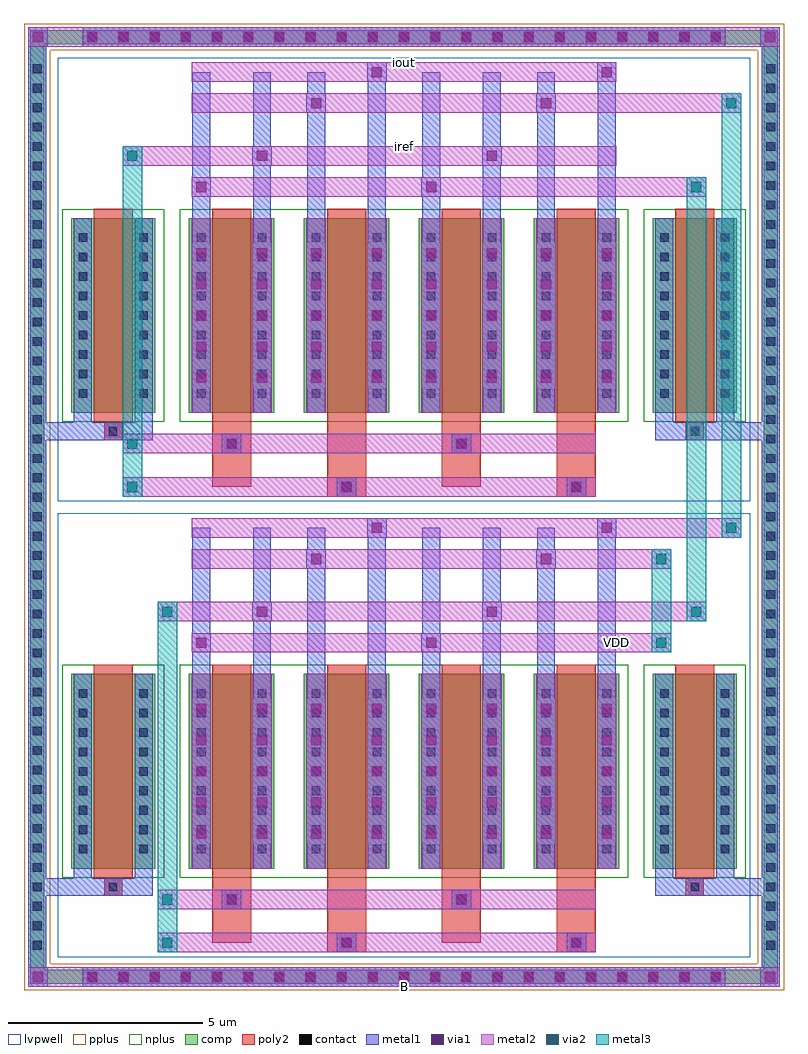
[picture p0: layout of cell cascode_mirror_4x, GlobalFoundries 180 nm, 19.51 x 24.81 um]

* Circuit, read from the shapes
.subckt cascode_mirror_4x B VDD iout iref
XM1 B B B B nfet_03v3 w=5u l=1u m=4
XM2 n1 n1 VDD B nfet_03v3 w=5u l=1u m=2
XM3 iref iref n1 B nfet_03v3 w=5u l=1u m=2
XM4 n2 n1 VDD B nfet_03v3 w=5u l=1u m=2
XM5 iout iref n2 B nfet_03v3 w=5u l=1u m=2
.ends

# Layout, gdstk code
import gdstk
lib = gdstk.Library(unit=1e-6, precision=5e-09)
def R(c, l, rs):  # rectangles x0, y0, x1, y1
    for r in rs: c.add(gdstk.rectangle(r[:2], r[2:], *l))
def A(c, l, x, y, w, h, nx, ny, dx, dy):  # array of equal rectangles
    R(c, l, [(x+i*dx, y+j*dy, x+i*dx+w, y+j*dy+h) for i in range(nx) for j in range(ny)])
def P(c, l, *ps):  # polygons
    for p in ps: c.add(gdstk.Polygon(p, *l))
comp = (22, 0)
poly2 = (30, 0)
pplus = (31, 0)
nplus = (32, 0)
contact = (33, 0)
metal1 = (34, 0)
via1 = (35, 0)
metal2 = (36, 0)
via2 = (38, 0)
metal3 = (42, 0)
lvpwell = (204, 0)

transformed_e3b7c027 = lib.new_cell('transformed_e3b7c027')
A(transformed_e3b7c027, comp, -5.525, -3.425, 2.2, 5, 4, 1, 2.95, 0)
R(transformed_e3b7c027, comp, [(-8.545,-3.425,-6.385,1.575), (6.385,-3.425,8.545,1.575)])
A(transformed_e3b7c027, poly2, -4.925, -3.665, 1, 5.48, 4, 1, 2.95, 0)
R(transformed_e3b7c027, poly2, [(-1.975,-5.575,-0.975,-5.075), (3.925,-5.575,4.925,-5.075), (-1.655,-5.505,-1.295,-5.145), (4.245,-5.505,4.605,-5.145), (-4.925,-5.325,-3.925,-3.665), (0.975,-5.325,1.975,-3.665), (-1.975,-5.075,-0.975,-3.665), (3.925,-5.075,4.925,-3.665), (-4.925,-4.465,-3.925,-3.965), (0.975,-4.465,1.975,-3.965), (-4.605,-4.395,-4.245,-4.035), (1.295,-4.395,1.655,-4.035), (-7.695,-4.125,-7.235,-3.665), (7.235,-4.125,7.695,-3.665), (-7.645,-4.075,-7.285,-3.715), (7.285,-4.075,7.645,-3.715), (-4.925,-3.965,-3.925,-3.665), (0.975,-3.965,1.975,-3.665), (-7.965,-3.665,-6.965,1.815), (6.965,-3.665,7.965,1.815)])
A(transformed_e3b7c027, nplus, -5.755, -3.655, 2.66, 5.46, 4, 1, 2.95, 0)
R(transformed_e3b7c027, nplus, [(-8.775,-3.655,-6.155,1.805), (-5.755,-3.655,5.755,1.805), (6.155,-3.655,8.775,1.805)])
A(transformed_e3b7c027, contact, -8.355, -3.035, 0.22, 0.22, 1, 9, 0, 0.5)
A(transformed_e3b7c027, contact, -6.795, -3.035, 0.22, 0.22, 1, 9, 0, 0.5)
A(transformed_e3b7c027, contact, -5.315, -3.035, 0.22, 0.22, 1, 9, 0, 0.5)
A(transformed_e3b7c027, contact, -3.755, -3.035, 0.22, 0.22, 1, 9, 0, 0.5)
A(transformed_e3b7c027, contact, -2.365, -3.035, 0.22, 0.22, 1, 9, 0, 0.5)
A(transformed_e3b7c027, contact, -0.805, -3.035, 0.22, 0.22, 1, 9, 0, 0.5)
A(transformed_e3b7c027, contact, 0.585, -3.035, 0.22, 0.22, 1, 9, 0, 0.5)
A(transformed_e3b7c027, contact, 2.145, -3.035, 0.22, 0.22, 1, 9, 0, 0.5)
A(transformed_e3b7c027, contact, 3.535, -3.035, 0.22, 0.22, 1, 9, 0, 0.5)
A(transformed_e3b7c027, contact, 5.095, -3.035, 0.22, 0.22, 1, 9, 0, 0.5)
A(transformed_e3b7c027, contact, 6.575, -3.035, 0.22, 0.22, 1, 9, 0, 0.5)
A(transformed_e3b7c027, contact, 8.135, -3.035, 0.22, 0.22, 1, 9, 0, 0.5)
R(transformed_e3b7c027, contact, [(-1.585,-5.435,-1.365,-5.215), (4.315,-5.435,4.535,-5.215), (-4.535,-4.325,-4.315,-4.105), (1.365,-4.325,1.585,-4.105), (-7.575,-4.005,-7.355,-3.785), (7.355,-4.005,7.575,-3.785)])
A(transformed_e3b7c027, metal1, -8.475, -3.155, 0.46, 0.46, 1, 9, 0, 0.5)
A(transformed_e3b7c027, metal1, -6.915, -3.155, 0.46, 0.46, 1, 9, 0, 0.5)
A(transformed_e3b7c027, metal1, -5.435, -3.155, 0.46, 0.46, 1, 9, 0, 0.5)
A(transformed_e3b7c027, metal1, -3.875, -3.155, 0.46, 0.46, 1, 9, 0, 0.5)
A(transformed_e3b7c027, metal1, -2.485, -3.155, 0.46, 0.46, 1, 9, 0, 0.5)
A(transformed_e3b7c027, metal1, -0.925, -3.155, 0.46, 0.46, 1, 9, 0, 0.5)
A(transformed_e3b7c027, metal1, 0.465, -3.155, 0.46, 0.46, 1, 9, 0, 0.5)
A(transformed_e3b7c027, metal1, 2.025, -3.155, 0.46, 0.46, 1, 9, 0, 0.5)
A(transformed_e3b7c027, metal1, 3.415, -3.155, 0.46, 0.46, 1, 9, 0, 0.5)
A(transformed_e3b7c027, metal1, 4.975, -3.155, 0.46, 0.46, 1, 9, 0, 0.5)
A(transformed_e3b7c027, metal1, 6.455, -3.155, 0.46, 0.46, 1, 9, 0, 0.5)
A(transformed_e3b7c027, metal1, 8.015, -3.155, 0.46, 0.46, 1, 9, 0, 0.5)
A(transformed_e3b7c027, metal1, -5.455, -2.775, 0.5, 0.5, 1, 5, 0, 0.8)
A(transformed_e3b7c027, metal1, -3.895, -2.775, 0.5, 0.5, 1, 5, 0, 0.8)
A(transformed_e3b7c027, metal1, -2.505, -2.775, 0.5, 0.5, 1, 5, 0, 0.8)
A(transformed_e3b7c027, metal1, -0.945, -2.775, 0.5, 0.5, 1, 5, 0, 0.8)
A(transformed_e3b7c027, metal1, 0.445, -2.775, 0.5, 0.5, 1, 5, 0, 0.8)
A(transformed_e3b7c027, metal1, 2.005, -2.775, 0.5, 0.5, 1, 5, 0, 0.8)
A(transformed_e3b7c027, metal1, 3.395, -2.775, 0.5, 0.5, 1, 5, 0, 0.8)
A(transformed_e3b7c027, metal1, 4.955, -2.775, 0.5, 0.5, 1, 5, 0, 0.8)
R(transformed_e3b7c027, metal1, [(-1.725,-5.575,-1.225,-5.075), (4.175,-5.575,4.675,-5.075), (-4.675,-4.465,-4.175,-3.965), (1.225,-4.465,1.725,-3.965), (-8.475,-4.125,-7.695,-3.665), (-8.475,-4.125,-8.015,-3.425), (-7.695,-4.125,-7.235,-3.665), (-7.235,-4.125,-6.455,-3.665), (-6.915,-4.125,-6.455,-3.425), (6.455,-4.125,7.235,-3.665), (6.455,-4.125,6.915,-3.425), (7.235,-4.125,7.695,-3.665), (7.695,-4.125,8.475,-3.665), (8.015,-4.125,8.475,-3.425), (-8.475,-3.425,-8.015,1.575), (-6.915,-3.425,-6.455,1.575), (-5.435,-3.425,-4.975,1.575), (-3.875,-3.425,-3.415,1.575), (-2.485,-3.425,-2.025,1.575), (-0.925,-3.425,-0.465,1.575), (0.465,-3.425,0.925,1.575), (2.025,-3.425,2.485,1.575), (3.415,-3.425,3.875,1.575), (4.975,-3.425,5.435,1.575), (6.455,-3.425,6.915,1.575), (8.015,-3.425,8.475,1.575), (-5.455,-2.775,-4.955,0.925), (-3.895,-2.775,-3.395,0.925), (-2.505,-2.775,-2.005,0.925), (-0.945,-2.775,-0.445,0.925), (0.445,-2.775,0.945,0.925), (2.005,-2.775,2.505,0.925), (3.395,-2.775,3.895,0.925), (4.955,-2.775,5.455,0.925), (-5.435,1.575,-4.975,2.625), (-5.435,1.575,-4.975,5.325), (-3.875,1.575,-3.415,3.425), (-3.875,1.575,-3.415,5.325), (-2.485,1.575,-2.025,4.775), (-2.485,1.575,-2.025,5.325), (-0.925,1.575,-0.465,5.575), (-0.925,1.575,-0.465,5.325), (0.465,1.575,0.925,2.625), (0.465,1.575,0.925,5.325), (2.025,1.575,2.485,3.425), (2.025,1.575,2.485,5.325), (3.415,1.575,3.875,4.775), (3.415,1.575,3.875,5.325), (4.975,1.575,5.435,5.575), (4.975,1.575,5.435,5.325), (-5.455,2.125,-4.955,2.625), (0.445,2.125,0.945,2.625), (-3.895,2.925,-3.395,3.425), (2.005,2.925,2.505,3.425), (-2.505,4.275,-2.005,4.775), (3.395,4.275,3.895,4.775), (-0.945,5.075,-0.445,5.575), (4.955,5.075,5.455,5.575)])
A(transformed_e3b7c027, via1, -5.335, -2.655, 0.26, 0.26, 1, 5, 0, 0.8)
A(transformed_e3b7c027, via1, -3.775, -2.655, 0.26, 0.26, 1, 5, 0, 0.8)
A(transformed_e3b7c027, via1, -2.385, -2.655, 0.26, 0.26, 1, 5, 0, 0.8)
A(transformed_e3b7c027, via1, -0.825, -2.655, 0.26, 0.26, 1, 5, 0, 0.8)
A(transformed_e3b7c027, via1, 0.565, -2.655, 0.26, 0.26, 1, 5, 0, 0.8)
A(transformed_e3b7c027, via1, 2.125, -2.655, 0.26, 0.26, 1, 5, 0, 0.8)
A(transformed_e3b7c027, via1, 3.515, -2.655, 0.26, 0.26, 1, 5, 0, 0.8)
A(transformed_e3b7c027, via1, 5.075, -2.655, 0.26, 0.26, 1, 5, 0, 0.8)
R(transformed_e3b7c027, via1, [(-1.605,-5.455,-1.345,-5.195), (4.295,-5.455,4.555,-5.195), (-4.555,-4.345,-4.295,-4.085), (1.345,-4.345,1.605,-4.085), (-5.335,2.245,-5.075,2.505), (0.565,2.245,0.825,2.505), (-3.775,3.045,-3.515,3.305), (2.125,3.045,2.385,3.305), (-2.385,4.395,-2.125,4.655), (3.515,4.395,3.775,4.655), (-0.825,5.195,-0.565,5.455), (5.075,5.195,5.335,5.455)])
A(transformed_e3b7c027, metal2, -5.455, -2.775, 0.5, 0.5, 1, 5, 0, 0.8)
A(transformed_e3b7c027, metal2, -3.895, -2.775, 0.5, 0.5, 1, 5, 0, 0.8)
A(transformed_e3b7c027, metal2, -2.505, -2.775, 0.5, 0.5, 1, 5, 0, 0.8)
A(transformed_e3b7c027, metal2, -0.945, -2.775, 0.5, 0.5, 1, 5, 0, 0.8)
A(transformed_e3b7c027, metal2, 0.445, -2.775, 0.5, 0.5, 1, 5, 0, 0.8)
A(transformed_e3b7c027, metal2, 2.005, -2.775, 0.5, 0.5, 1, 5, 0, 0.8)
A(transformed_e3b7c027, metal2, 3.395, -2.775, 0.5, 0.5, 1, 5, 0, 0.8)
A(transformed_e3b7c027, metal2, 4.955, -2.775, 0.5, 0.5, 1, 5, 0, 0.8)
R(transformed_e3b7c027, metal2, [(-4.925,-5.575,4.925,-5.075), (-1.975,-5.575,-0.975,-5.075), (-1.725,-5.575,-1.225,-5.075), (3.925,-5.575,4.925,-5.075), (4.175,-5.575,4.675,-5.075), (-4.925,-4.465,-3.925,-3.965), (-4.925,-4.465,4.925,-3.965), (-4.675,-4.465,-4.175,-3.965), (0.975,-4.465,1.975,-3.965), (1.225,-4.465,1.725,-3.965), (-5.455,-3.425,-4.955,1.575), (-3.895,-3.425,-3.395,1.575), (-2.505,-3.425,-2.005,1.575), (-0.945,-3.425,-0.445,1.575), (0.445,-3.425,0.945,1.575), (2.005,-3.425,2.505,1.575), (3.395,-3.425,3.895,1.575), (4.955,-3.425,5.455,1.575), (-5.455,2.125,-4.955,2.625), (-5.455,2.125,-3.395,2.625), (-5.455,2.125,5.455,2.625), (0.445,2.125,0.945,2.625), (0.445,2.125,2.505,2.625), (-5.455,2.925,-3.395,3.425), (-5.455,2.925,5.455,3.425), (-3.895,2.925,-3.395,3.425), (0.445,2.925,2.505,3.425), (2.005,2.925,2.505,3.425), (-5.455,4.275,5.455,4.775), (-2.505,4.275,-2.005,4.775), (-2.505,4.275,-0.445,4.775), (3.395,4.275,3.895,4.775), (3.395,4.275,5.455,4.775), (-5.455,5.075,5.455,5.575), (-2.505,5.075,-0.445,5.575), (-0.945,5.075,-0.445,5.575), (3.395,5.075,5.455,5.575), (4.955,5.075,5.455,5.575)])
R(transformed_e3b7c027, lvpwell, [(-8.895,-5.695,8.895,5.695)])

transformed_60a3c7ee = lib.new_cell('transformed_60a3c7ee')
A(transformed_60a3c7ee, comp, -5.525, -3.425, 2.2, 5, 4, 1, 2.95, 0)
R(transformed_60a3c7ee, comp, [(-8.545,-3.425,-6.385,1.575), (6.385,-3.425,8.545,1.575)])
A(transformed_60a3c7ee, poly2, -4.925, -3.665, 1, 5.48, 4, 1, 2.95, 0)
R(transformed_60a3c7ee, poly2, [(-1.975,-5.575,-0.975,-5.075), (3.925,-5.575,4.925,-5.075), (-1.655,-5.505,-1.295,-5.145), (4.245,-5.505,4.605,-5.145), (-4.925,-5.325,-3.925,-3.665), (0.975,-5.325,1.975,-3.665), (-1.975,-5.075,-0.975,-3.665), (3.925,-5.075,4.925,-3.665), (-4.925,-4.465,-3.925,-3.965), (0.975,-4.465,1.975,-3.965), (-4.605,-4.395,-4.245,-4.035), (1.295,-4.395,1.655,-4.035), (-7.695,-4.125,-7.235,-3.665), (7.235,-4.125,7.695,-3.665), (-7.645,-4.075,-7.285,-3.715), (7.285,-4.075,7.645,-3.715), (-4.925,-3.965,-3.925,-3.665), (0.975,-3.965,1.975,-3.665), (-7.965,-3.665,-6.965,1.815), (6.965,-3.665,7.965,1.815)])
A(transformed_60a3c7ee, nplus, -5.755, -3.655, 2.66, 5.46, 4, 1, 2.95, 0)
R(transformed_60a3c7ee, nplus, [(-8.775,-3.655,-6.155,1.805), (-5.755,-3.655,5.755,1.805), (6.155,-3.655,8.775,1.805)])
A(transformed_60a3c7ee, contact, -8.355, -3.035, 0.22, 0.22, 1, 9, 0, 0.5)
A(transformed_60a3c7ee, contact, -6.795, -3.035, 0.22, 0.22, 1, 9, 0, 0.5)
A(transformed_60a3c7ee, contact, -5.315, -3.035, 0.22, 0.22, 1, 9, 0, 0.5)
A(transformed_60a3c7ee, contact, -3.755, -3.035, 0.22, 0.22, 1, 9, 0, 0.5)
A(transformed_60a3c7ee, contact, -2.365, -3.035, 0.22, 0.22, 1, 9, 0, 0.5)
A(transformed_60a3c7ee, contact, -0.805, -3.035, 0.22, 0.22, 1, 9, 0, 0.5)
A(transformed_60a3c7ee, contact, 0.585, -3.035, 0.22, 0.22, 1, 9, 0, 0.5)
A(transformed_60a3c7ee, contact, 2.145, -3.035, 0.22, 0.22, 1, 9, 0, 0.5)
A(transformed_60a3c7ee, contact, 3.535, -3.035, 0.22, 0.22, 1, 9, 0, 0.5)
A(transformed_60a3c7ee, contact, 5.095, -3.035, 0.22, 0.22, 1, 9, 0, 0.5)
A(transformed_60a3c7ee, contact, 6.575, -3.035, 0.22, 0.22, 1, 9, 0, 0.5)
A(transformed_60a3c7ee, contact, 8.135, -3.035, 0.22, 0.22, 1, 9, 0, 0.5)
R(transformed_60a3c7ee, contact, [(-1.585,-5.435,-1.365,-5.215), (4.315,-5.435,4.535,-5.215), (-4.535,-4.325,-4.315,-4.105), (1.365,-4.325,1.585,-4.105), (-7.575,-4.005,-7.355,-3.785), (7.355,-4.005,7.575,-3.785)])
A(transformed_60a3c7ee, metal1, -8.475, -3.155, 0.46, 0.46, 1, 9, 0, 0.5)
A(transformed_60a3c7ee, metal1, -6.915, -3.155, 0.46, 0.46, 1, 9, 0, 0.5)
A(transformed_60a3c7ee, metal1, -5.435, -3.155, 0.46, 0.46, 1, 9, 0, 0.5)
A(transformed_60a3c7ee, metal1, -3.875, -3.155, 0.46, 0.46, 1, 9, 0, 0.5)
A(transformed_60a3c7ee, metal1, -2.485, -3.155, 0.46, 0.46, 1, 9, 0, 0.5)
A(transformed_60a3c7ee, metal1, -0.925, -3.155, 0.46, 0.46, 1, 9, 0, 0.5)
A(transformed_60a3c7ee, metal1, 0.465, -3.155, 0.46, 0.46, 1, 9, 0, 0.5)
A(transformed_60a3c7ee, metal1, 2.025, -3.155, 0.46, 0.46, 1, 9, 0, 0.5)
A(transformed_60a3c7ee, metal1, 3.415, -3.155, 0.46, 0.46, 1, 9, 0, 0.5)
A(transformed_60a3c7ee, metal1, 4.975, -3.155, 0.46, 0.46, 1, 9, 0, 0.5)
A(transformed_60a3c7ee, metal1, 6.455, -3.155, 0.46, 0.46, 1, 9, 0, 0.5)
A(transformed_60a3c7ee, metal1, 8.015, -3.155, 0.46, 0.46, 1, 9, 0, 0.5)
A(transformed_60a3c7ee, metal1, -5.455, -2.775, 0.5, 0.5, 1, 5, 0, 0.8)
A(transformed_60a3c7ee, metal1, -3.895, -2.775, 0.5, 0.5, 1, 5, 0, 0.8)
A(transformed_60a3c7ee, metal1, -2.505, -2.775, 0.5, 0.5, 1, 5, 0, 0.8)
A(transformed_60a3c7ee, metal1, -0.945, -2.775, 0.5, 0.5, 1, 5, 0, 0.8)
A(transformed_60a3c7ee, metal1, 0.445, -2.775, 0.5, 0.5, 1, 5, 0, 0.8)
A(transformed_60a3c7ee, metal1, 2.005, -2.775, 0.5, 0.5, 1, 5, 0, 0.8)
A(transformed_60a3c7ee, metal1, 3.395, -2.775, 0.5, 0.5, 1, 5, 0, 0.8)
A(transformed_60a3c7ee, metal1, 4.955, -2.775, 0.5, 0.5, 1, 5, 0, 0.8)
R(transformed_60a3c7ee, metal1, [(-1.725,-5.575,-1.225,-5.075), (4.175,-5.575,4.675,-5.075), (-4.675,-4.465,-4.175,-3.965), (1.225,-4.465,1.725,-3.965), (-8.475,-4.125,-7.695,-3.665), (-8.475,-4.125,-8.015,-3.425), (-7.695,-4.125,-7.235,-3.665), (-7.235,-4.125,-6.455,-3.665), (-6.915,-4.125,-6.455,-3.425), (6.455,-4.125,7.235,-3.665), (6.455,-4.125,6.915,-3.425), (7.235,-4.125,7.695,-3.665), (7.695,-4.125,8.475,-3.665), (8.015,-4.125,8.475,-3.425), (-8.475,-3.425,-8.015,1.575), (-6.915,-3.425,-6.455,1.575), (-5.435,-3.425,-4.975,1.575), (-3.875,-3.425,-3.415,1.575), (-2.485,-3.425,-2.025,1.575), (-0.925,-3.425,-0.465,1.575), (0.465,-3.425,0.925,1.575), (2.025,-3.425,2.485,1.575), (3.415,-3.425,3.875,1.575), (4.975,-3.425,5.435,1.575), (6.455,-3.425,6.915,1.575), (8.015,-3.425,8.475,1.575), (-5.455,-2.775,-4.955,0.925), (-3.895,-2.775,-3.395,0.925), (-2.505,-2.775,-2.005,0.925), (-0.945,-2.775,-0.445,0.925), (0.445,-2.775,0.945,0.925), (2.005,-2.775,2.505,0.925), (3.395,-2.775,3.895,0.925), (4.955,-2.775,5.455,0.925), (-5.435,1.575,-4.975,2.625), (-5.435,1.575,-4.975,5.325), (-3.875,1.575,-3.415,3.425), (-3.875,1.575,-3.415,5.325), (-2.485,1.575,-2.025,4.775), (-2.485,1.575,-2.025,5.325), (-0.925,1.575,-0.465,5.575), (-0.925,1.575,-0.465,5.325), (0.465,1.575,0.925,2.625), (0.465,1.575,0.925,5.325), (2.025,1.575,2.485,3.425), (2.025,1.575,2.485,5.325), (3.415,1.575,3.875,4.775), (3.415,1.575,3.875,5.325), (4.975,1.575,5.435,5.575), (4.975,1.575,5.435,5.325), (-5.455,2.125,-4.955,2.625), (0.445,2.125,0.945,2.625), (-3.895,2.925,-3.395,3.425), (2.005,2.925,2.505,3.425), (-2.505,4.275,-2.005,4.775), (3.395,4.275,3.895,4.775), (-0.945,5.075,-0.445,5.575), (4.955,5.075,5.455,5.575)])
A(transformed_60a3c7ee, via1, -5.335, -2.655, 0.26, 0.26, 1, 5, 0, 0.8)
A(transformed_60a3c7ee, via1, -3.775, -2.655, 0.26, 0.26, 1, 5, 0, 0.8)
A(transformed_60a3c7ee, via1, -2.385, -2.655, 0.26, 0.26, 1, 5, 0, 0.8)
A(transformed_60a3c7ee, via1, -0.825, -2.655, 0.26, 0.26, 1, 5, 0, 0.8)
A(transformed_60a3c7ee, via1, 0.565, -2.655, 0.26, 0.26, 1, 5, 0, 0.8)
A(transformed_60a3c7ee, via1, 2.125, -2.655, 0.26, 0.26, 1, 5, 0, 0.8)
A(transformed_60a3c7ee, via1, 3.515, -2.655, 0.26, 0.26, 1, 5, 0, 0.8)
A(transformed_60a3c7ee, via1, 5.075, -2.655, 0.26, 0.26, 1, 5, 0, 0.8)
R(transformed_60a3c7ee, via1, [(-1.605,-5.455,-1.345,-5.195), (4.295,-5.455,4.555,-5.195), (-4.555,-4.345,-4.295,-4.085), (1.345,-4.345,1.605,-4.085), (-5.335,2.245,-5.075,2.505), (0.565,2.245,0.825,2.505), (-3.775,3.045,-3.515,3.305), (2.125,3.045,2.385,3.305), (-2.385,4.395,-2.125,4.655), (3.515,4.395,3.775,4.655), (-0.825,5.195,-0.565,5.455), (5.075,5.195,5.335,5.455)])
A(transformed_60a3c7ee, metal2, -5.455, -2.775, 0.5, 0.5, 1, 5, 0, 0.8)
A(transformed_60a3c7ee, metal2, -3.895, -2.775, 0.5, 0.5, 1, 5, 0, 0.8)
A(transformed_60a3c7ee, metal2, -2.505, -2.775, 0.5, 0.5, 1, 5, 0, 0.8)
A(transformed_60a3c7ee, metal2, -0.945, -2.775, 0.5, 0.5, 1, 5, 0, 0.8)
A(transformed_60a3c7ee, metal2, 0.445, -2.775, 0.5, 0.5, 1, 5, 0, 0.8)
A(transformed_60a3c7ee, metal2, 2.005, -2.775, 0.5, 0.5, 1, 5, 0, 0.8)
A(transformed_60a3c7ee, metal2, 3.395, -2.775, 0.5, 0.5, 1, 5, 0, 0.8)
A(transformed_60a3c7ee, metal2, 4.955, -2.775, 0.5, 0.5, 1, 5, 0, 0.8)
R(transformed_60a3c7ee, metal2, [(-4.925,-5.575,4.925,-5.075), (-1.975,-5.575,-0.975,-5.075), (-1.725,-5.575,-1.225,-5.075), (3.925,-5.575,4.925,-5.075), (4.175,-5.575,4.675,-5.075), (-4.925,-4.465,-3.925,-3.965), (-4.925,-4.465,4.925,-3.965), (-4.675,-4.465,-4.175,-3.965), (0.975,-4.465,1.975,-3.965), (1.225,-4.465,1.725,-3.965), (-5.455,-3.425,-4.955,1.575), (-3.895,-3.425,-3.395,1.575), (-2.505,-3.425,-2.005,1.575), (-0.945,-3.425,-0.445,1.575), (0.445,-3.425,0.945,1.575), (2.005,-3.425,2.505,1.575), (3.395,-3.425,3.895,1.575), (4.955,-3.425,5.455,1.575), (-5.455,2.125,-4.955,2.625), (-5.455,2.125,-3.395,2.625), (-5.455,2.125,5.455,2.625), (0.445,2.125,0.945,2.625), (0.445,2.125,2.505,2.625), (-5.455,2.925,-3.395,3.425), (-5.455,2.925,5.455,3.425), (-3.895,2.925,-3.395,3.425), (0.445,2.925,2.505,3.425), (2.005,2.925,2.505,3.425), (-5.455,4.275,5.455,4.775), (-2.505,4.275,-2.005,4.775), (-2.505,4.275,-0.445,4.775), (3.395,4.275,3.895,4.775), (3.395,4.275,5.455,4.775), (-5.455,5.075,5.455,5.575), (-2.505,5.075,-0.445,5.575), (-0.945,5.075,-0.445,5.575), (3.395,5.075,5.455,5.575), (4.955,5.075,5.455,5.575)])
R(transformed_60a3c7ee, lvpwell, [(-8.895,-5.695,8.895,5.695)])

unnamed_f95acd02 = lib.new_cell('Unnamed_f95acd02')
A(unnamed_f95acd02, comp, -8.18, -6.385, 0.36, 0.36, 21, 2, 0.8, 24.13)
A(unnamed_f95acd02, comp, -9.595, -5.57, 0.36, 0.36, 1, 46, 0, 0.5)
A(unnamed_f95acd02, comp, 9.235, -5.57, 0.36, 0.36, 1, 46, 0, 0.5)
R(unnamed_f95acd02, comp, [(-8.18,-6.385,8.18,-6.025), (-9.595,-5.57,-9.235,17.29), (9.235,-5.57,9.595,17.29), (-8.18,17.745,8.18,18.105)])
P(unnamed_f95acd02, comp, [(9.595,18.105),(-9.595,18.105),(-9.595,-6.025),(-9.235,-6.025),(-9.235,17.745),(9.235,17.745),(9.235,-6.025),(-9.235,-6.025),(-9.595,-6.025),(-9.595,-6.385),(9.595,-6.385)])
P(unnamed_f95acd02, pplus, [(9.755,18.265),(-9.755,18.265),(-9.755,-5.865),(-9.075,-5.865),(-9.075,17.585),(9.075,17.585),(9.075,-5.865),(-9.075,-5.865),(-9.755,-5.865),(-9.755,-6.545),(9.755,-6.545)])
A(unnamed_f95acd02, contact, -8.11, -6.315, 0.22, 0.22, 21, 2, 0.8, 24.13)
A(unnamed_f95acd02, contact, -9.525, -5.5, 0.22, 0.22, 1, 46, 0, 0.5)
A(unnamed_f95acd02, contact, 9.305, -5.5, 0.22, 0.22, 1, 46, 0, 0.5)
A(unnamed_f95acd02, metal1, -8.25, -6.455, 0.5, 0.5, 21, 2, 0.8, 24.13)
A(unnamed_f95acd02, metal1, -9.645, -5.62, 0.46, 0.46, 1, 46, 0, 0.5)
A(unnamed_f95acd02, metal1, 9.185, -5.62, 0.46, 0.46, 1, 46, 0, 0.5)
R(unnamed_f95acd02, metal1, [(-9.645,-6.455,-9.145,-5.955), (-9.645,-6.455,-9.145,-5.955), (-9.645,-6.455,-9.185,-6.025), (-8.25,-6.455,8.25,-5.955), (9.145,-6.455,9.645,-5.955), (9.145,-6.455,9.645,-5.955), (9.185,-6.455,9.645,-6.025), (-9.645,-6.025,-9.185,17.745), (9.185,-6.025,9.645,17.745), (-9.645,17.675,-9.145,18.175), (-9.645,17.675,-9.145,18.175), (-8.25,17.675,8.25,18.175), (9.145,17.675,9.645,18.175), (9.145,17.675,9.645,18.175), (-9.645,17.745,-9.185,18.175), (9.185,17.745,9.645,18.175)])
A(unnamed_f95acd02, via1, -8.13, -6.335, 0.26, 0.26, 21, 2, 0.8, 24.13)
R(unnamed_f95acd02, via1, [(-9.525,-6.335,-9.265,-6.075), (9.265,-6.335,9.525,-6.075), (-9.525,17.795,-9.265,18.055), (9.265,17.795,9.525,18.055)])
A(unnamed_f95acd02, metal2, -8.25, -6.455, 0.5, 0.5, 21, 2, 0.8, 24.13)
R(unnamed_f95acd02, metal2, [(-9.645,-6.455,-9.235,-5.955), (-9.645,-6.455,-9.145,-5.955), (-9.645,-6.455,-9.145,-5.955), (-9.235,-6.455,9.235,-5.955), (9.145,-6.455,9.645,-5.955), (9.145,-6.455,9.645,-5.955), (9.235,-6.455,9.645,-5.955), (-9.645,17.675,-9.235,18.175), (-9.645,17.675,-9.145,18.175), (-9.645,17.675,-9.145,18.175), (-9.235,17.675,9.235,18.175), (9.145,17.675,9.645,18.175), (9.145,17.675,9.645,18.175), (9.235,17.675,9.645,18.175)])

unnamed_d0d98b06 = lib.new_cell('Unnamed_d0d98b06')
unnamed_d0d98b06.add(gdstk.Reference(transformed_e3b7c027, (0,11.7)))
unnamed_d0d98b06.add(gdstk.Reference(transformed_60a3c7ee, (0,0)))
unnamed_d0d98b06.add(gdstk.Reference(unnamed_f95acd02, (0,0)))

c_route_623c3313 = lib.new_cell('c_route_623c3313')
R(c_route_623c3313, metal2, [(5.455,-3.735,6.855,-3.235), (6.355,-3.735,6.855,-3.235), (5.455,-1.585,6.855,-1.085), (6.355,-1.585,6.855,-1.085)])
R(c_route_623c3313, via2, [(6.475,-3.615,6.735,-3.355), (6.475,-1.465,6.735,-1.205)])
R(c_route_623c3313, metal3, [(6.355,-3.735,6.855,-3.235), (6.355,-3.735,6.855,-3.235), (6.355,-3.735,6.855,-1.085), (6.355,-1.585,6.855,-1.085), (6.355,-1.585,6.855,-1.085)])
P(c_route_623c3313, metal3, [(6.855,-3.735),(6.855,-3.735),(6.855,-3.235),(6.855,-3.235)],
  [(6.855,-1.585),(6.855,-1.585),(6.855,-1.085),(6.855,-1.085)])

c_route_7d3a6951 = lib.new_cell('c_route_7d3a6951')
R(c_route_7d3a6951, metal2, [(5.455,-2.935,7.755,-2.435), (7.255,-2.935,7.755,-2.435), (5.455,7.965,7.755,8.465), (7.255,7.965,7.755,8.465)])
R(c_route_7d3a6951, via2, [(7.375,-2.815,7.635,-2.555), (7.375,8.085,7.635,8.345)])
R(c_route_7d3a6951, metal3, [(7.255,-2.935,7.755,-2.435), (7.255,-2.935,7.755,-2.435), (7.255,-2.935,7.755,8.465), (7.255,7.965,7.755,8.465), (7.255,7.965,7.755,8.465)])
P(c_route_7d3a6951, metal3, [(7.755,-2.935),(7.755,-2.935),(7.755,-2.435),(7.755,-2.435)],
  [(7.755,7.965),(7.755,7.965),(7.755,8.465),(7.755,8.465)])

c_route_7cb90941 = lib.new_cell('c_route_7cb90941')
R(c_route_7cb90941, metal2, [(5.455,-0.785,8.655,-0.285), (8.155,-0.785,8.655,-0.285), (5.455,10.115,8.655,10.615), (8.155,10.115,8.655,10.615)])
R(c_route_7cb90941, via2, [(8.275,-0.665,8.535,-0.405), (8.275,10.235,8.535,10.495)])
R(c_route_7cb90941, metal3, [(8.155,-0.785,8.655,-0.285), (8.155,-0.785,8.655,-0.285), (8.155,-0.785,8.655,10.615), (8.155,10.115,8.655,10.615), (8.155,10.115,8.655,10.615)])
P(c_route_7cb90941, metal3, [(8.655,-0.785),(8.655,-0.785),(8.655,-0.285),(8.655,-0.285)],
  [(8.655,10.115),(8.655,10.115),(8.655,10.615),(8.655,10.615)])

c_route_5a68d3ab = lib.new_cell('c_route_5a68d3ab')
R(c_route_5a68d3ab, metal2, [(-6.325,-11.435,-4.925,-10.935), (-6.325,-11.435,-5.825,-10.935), (-6.325,-10.325,-4.925,-9.825), (-6.325,-10.325,-5.825,-9.825)])
R(c_route_5a68d3ab, via2, [(-6.205,-11.315,-5.945,-11.055), (-6.205,-10.205,-5.945,-9.945)])
R(c_route_5a68d3ab, metal3, [(-6.325,-11.435,-5.825,-10.935), (-6.325,-11.435,-5.825,-10.935), (-6.325,-11.435,-5.825,-9.825), (-6.325,-10.325,-5.825,-9.825), (-6.325,-10.325,-5.825,-9.825)])
P(c_route_5a68d3ab, metal3, [(-5.825,-11.435),(-5.825,-11.435),(-5.825,-10.935),(-5.825,-10.935)],
  [(-5.825,-10.325),(-5.825,-10.325),(-5.825,-9.825),(-5.825,-9.825)])

l_route_90301b52 = lib.new_cell('L_route_90301b52')
R(l_route_90301b52, metal2, [(-6.325,-2.935,-5.455,-2.435), (-6.325,-2.935,-5.825,-2.435), (-6.325,-2.935,-5.825,-2.435)])
R(l_route_90301b52, via2, [(-6.205,-2.815,-5.945,-2.555)])
R(l_route_90301b52, metal3, [(-6.325,-9.825,-5.825,-2.435), (-6.325,-2.935,-5.825,-2.435), (-6.325,-2.935,-5.825,-2.435)])

c_route_4fac1a74 = lib.new_cell('c_route_4fac1a74')
R(c_route_4fac1a74, metal2, [(-7.225,0.265,-4.925,0.765), (-7.225,0.265,-6.725,0.765), (-7.225,1.375,-4.925,1.875), (-7.225,1.375,-6.725,1.875)])
R(c_route_4fac1a74, via2, [(-7.105,0.385,-6.845,0.645), (-7.105,1.495,-6.845,1.755)])
R(c_route_4fac1a74, metal3, [(-7.225,0.265,-6.725,0.765), (-7.225,0.265,-6.725,0.765), (-7.225,0.265,-6.725,1.875), (-7.225,1.375,-6.725,1.875), (-7.225,1.375,-6.725,1.875)])
P(c_route_4fac1a74, metal3, [(-6.725,0.265),(-6.725,0.265),(-6.725,0.765),(-6.725,0.765)],
  [(-6.725,1.375),(-6.725,1.375),(-6.725,1.875),(-6.725,1.875)])

l_route_d140357a = lib.new_cell('L_route_d140357a')
R(l_route_d140357a, metal2, [(-7.225,8.765,-5.455,9.265), (-7.225,8.765,-6.725,9.265), (-7.225,8.765,-6.725,9.265)])
R(l_route_d140357a, via2, [(-7.105,8.885,-6.845,9.145)])
R(l_route_d140357a, metal3, [(-7.225,1.875,-6.725,9.265), (-7.225,8.765,-6.725,9.265), (-7.225,8.765,-6.725,9.265)])

straight_route_7581acb4 = lib.new_cell('straight_route_7581acb4')
R(straight_route_7581acb4, metal1, [(-9.645,1.715,-7.695,2.175)])

straight_route_64dacc38 = lib.new_cell('straight_route_64dacc38')
R(straight_route_64dacc38, metal1, [(7.695,1.715,9.645,2.175)])

straight_route_8f76e929 = lib.new_cell('straight_route_8f76e929')
R(straight_route_8f76e929, metal1, [(-9.645,-9.985,-7.695,-9.525)])

straight_route_370f61b9 = lib.new_cell('straight_route_370f61b9')
R(straight_route_370f61b9, metal1, [(7.695,-9.985,9.645,-9.525)])

cascode_mirror_4x = lib.new_cell('cascode_mirror_4x')
cascode_mirror_4x.add(gdstk.Reference(unnamed_d0d98b06, (0,-5.86)))
cascode_mirror_4x.add(gdstk.Reference(c_route_623c3313, (0,0)))
cascode_mirror_4x.add(gdstk.Reference(c_route_7d3a6951, (0,0)))
cascode_mirror_4x.add(gdstk.Reference(c_route_7cb90941, (0,0)))
cascode_mirror_4x.add(gdstk.Reference(c_route_5a68d3ab, (0,0)))
cascode_mirror_4x.add(gdstk.Reference(l_route_90301b52, (0,0)))
cascode_mirror_4x.add(gdstk.Reference(c_route_4fac1a74, (0,0)))
cascode_mirror_4x.add(gdstk.Reference(l_route_d140357a, (0,0)))
cascode_mirror_4x.add(gdstk.Reference(straight_route_7581acb4, (0,0)))
cascode_mirror_4x.add(gdstk.Reference(straight_route_64dacc38, (0,0)))
cascode_mirror_4x.add(gdstk.Reference(straight_route_8f76e929, (0,0)))
cascode_mirror_4x.add(gdstk.Reference(straight_route_370f61b9, (0,0)))
cascode_mirror_4x.add(gdstk.Label('iref', (0,9.265), layer=36, texttype=0))
cascode_mirror_4x.add(gdstk.Label('iout', (0,11.415), layer=36, texttype=0))
cascode_mirror_4x.add(gdstk.Label('VDD', (5.455,-3.485), layer=36, texttype=0))
cascode_mirror_4x.add(gdstk.Label('B', (0,-12.315), layer=36, texttype=0))

lib.write_gds('cascode_mirror_4x.gds')
